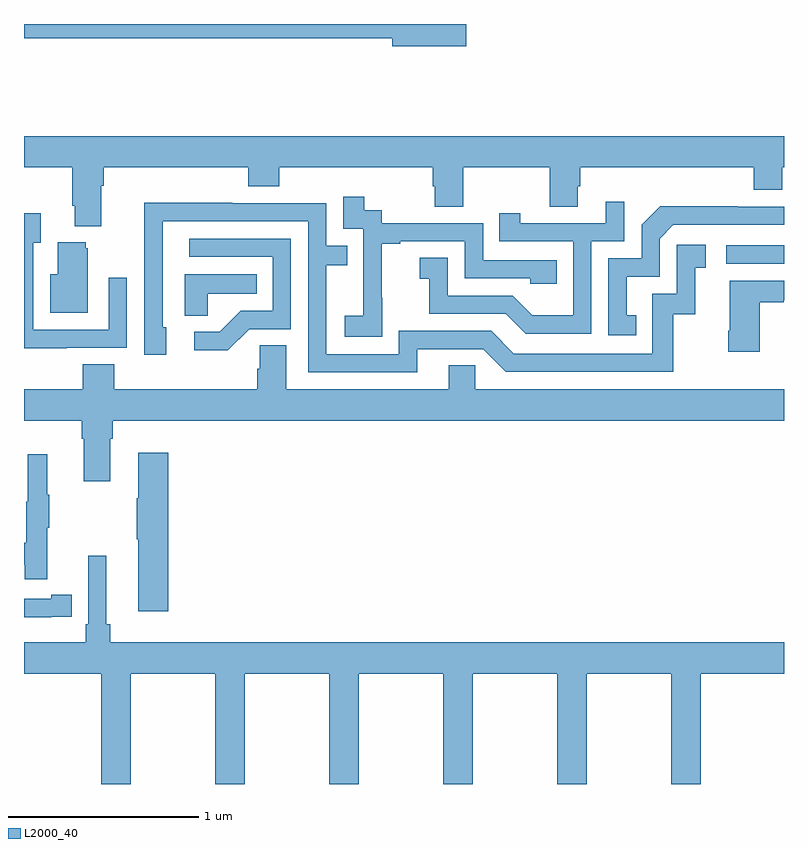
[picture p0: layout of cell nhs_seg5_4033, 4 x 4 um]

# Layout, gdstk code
import gdstk
lib = gdstk.Library(unit=1e-6, precision=1e-09)
def R(c, l, rs):  # rectangles x0, y0, x1, y1
    for r in rs: c.add(gdstk.rectangle(r[:2], r[2:], *l))
def P(c, l, *ps):  # polygons
    for p in ps: c.add(gdstk.Polygon(p, *l))
L2000_40 = (2000, 40)

nhs_seg5_4033 = lib.new_cell('nhs_seg5_4033')
R(nhs_seg5_4033, L2000_40, [(350.697,905.538,351,905.634)])
P(nhs_seg5_4033, L2000_40, [(349.327,906.799),(347,906.799),(347,906.724),(348.938,906.724),(348.938,906.682),(349.327,906.682)],
  [(347,906.044),(347.255,906.044),(347.255,905.842),(347.267,905.842),(347.267,905.735),(347.407,905.735),(347.407,905.948),(347.42,905.948),(347.42,906.044),(348.179,906.044),(348.179,905.945),(348.344,905.945),(348.344,906.044),(349.151,906.044),(349.151,905.946),(349.163,905.946),(349.163,905.836),(349.311,905.836),(349.311,906.044),(349.768,906.044),(349.768,905.836),(349.915,905.836),(349.915,905.946),(349.928,905.946),(349.928,906.044),(350.84,906.044),(350.84,905.927),(350.992,905.927),(350.992,906.044),(351,906.044),(351,906.208),(347,906.208)],
  [(348.885,905.359),(348.884,905.359),(348.884,905.643),(348.979,905.643),(348.979,905.655),(349.32,905.655),(349.32,905.46),(349.665,905.46),(349.665,905.433),(349.805,905.433),(349.805,905.556),(349.416,905.556),(349.416,905.751),(348.882,905.751),(348.882,905.82),(348.79,905.82),(348.79,905.89),(348.681,905.89),(348.681,905.721),(348.786,905.721),(348.786,905.492),(348.785,905.492),(348.785,905.263),(348.687,905.263),(348.687,905.153),(348.885,905.153)],
  [(349.986,905.655),(350.16,905.655),(350.16,905.863),(350.063,905.863),(350.063,905.751),(349.612,905.751),(349.612,905.803),(349.501,905.803),(349.501,905.655),(349.89,905.655),(349.89,905.266),(349.676,905.266),(349.572,905.37),(349.23,905.37),(349.23,905.569),(349.083,905.569),(349.083,905.459),(349.132,905.459),(349.132,905.274),(349.535,905.274),(349.64,905.169),(349.986,905.169)],
  [(349.069,905.088),(349.416,905.088),(349.536,904.968),(350.416,904.968),(350.416,905.271),(350.534,905.271),(350.534,905.517),(350.587,905.517),(350.587,905.638),(350.436,905.638),(350.436,905.379),(350.307,905.379),(350.307,905.064),(349.578,905.064),(349.458,905.184),(348.972,905.184),(348.972,905.061),(348.591,905.061),(348.591,905.53),(348.701,905.53),(348.701,905.631),(348.591,905.631),(348.591,905.856),(348.095,905.856),(348.095,905.858),(347.632,905.858),(347.632,905.551),(347.634,905.551),(347.634,905.058),(347.749,905.058),(347.749,905.202),(347.73,905.202),(347.73,905.76),(348.495,905.76),(348.495,904.965),(349.069,904.965)],
  [(350.222,905.265),(350.173,905.265),(350.173,905.469),(350.346,905.469),(350.346,905.67),(350.418,905.742),(351,905.742),(351,905.838),(350.756,905.838),(350.756,905.84),(350.348,905.84),(350.25,905.742),(350.25,905.565),(350.076,905.565),(350.076,905.16),(350.222,905.16)],
  [(347.225,905.094),(347.541,905.094),(347.541,905.464),(347.445,905.464),(347.445,905.19),(347.049,905.19),(347.049,905.647),(347.089,905.647),(347.089,905.803),(347,905.803),(347,905.093),(347.225,905.093)],
  [(348.186,905.193),(348.405,905.193),(348.405,905.67),(347.871,905.67),(347.871,905.574),(348.309,905.574),(348.309,905.289),(348.14,905.289),(348.029,905.178),(347.895,905.178),(347.895,905.081),(348.073,905.081)],
  [(347.335,905.619),(347.324,905.619),(347.324,905.65),(347.177,905.65),(347.177,905.482),(347.138,905.482),(347.138,905.279),(347.335,905.279)],
  [(347.967,905.378),(348.224,905.378),(348.224,905.482),(347.846,905.482),(347.846,905.263),(347.967,905.263)],
  [(350.872,905.335),(350.999,905.335),(350.999,905.345),(351,905.345),(351,905.449),(350.714,905.449),(350.714,905.185),(350.707,905.185),(350.707,905.073),(350.872,905.073)],
  [(347.455,904.616),(347.468,904.616),(347.468,904.712),(351,904.712),(351,904.876),(349.374,904.876),(349.374,905.003),(349.235,905.003),(349.235,904.876),(348.379,904.876),(348.379,905.108),(348.24,905.108),(348.24,904.985),(348.227,904.985),(348.227,904.876),(347.474,904.876),(347.474,905.009),(347.309,905.009),(347.309,904.876),(347,904.876),(347,904.712),(347.303,904.712),(347.303,904.616),(347.315,904.616),(347.315,904.392),(347.455,904.392)],
  [(347.759,904.543),(347.6,904.543),(347.6,904.304),(347.593,904.304),(347.593,904.087),(347.6,904.087),(347.6,903.708),(347.759,903.708)],
  [(347.123,904.147),(347.134,904.147),(347.134,904.321),(347.123,904.321),(347.123,904.534),(347.02,904.534),(347.02,904.284),(347.013,904.284),(347.013,904.07),(347,904.07),(347,903.954),(347.005,903.954),(347.005,903.876),(347.123,903.876)],
  [(347.144,903.678),(347.252,903.678),(347.252,903.794),(347.144,903.794),(347.144,903.774),(347,903.774),(347,903.677),(347.144,903.677)],
  [(347.453,903.64),(347.434,903.64),(347.434,904),(347.337,904),(347.337,903.64),(347.324,903.64),(347.324,903.544),(347,903.544),(347,903.38),(347.407,903.38),(347.407,902.799),(347.562,902.799),(347.562,903.38),(348.007,903.38),(348.007,902.799),(348.162,902.799),(348.162,903.38),(348.607,903.38),(348.607,902.799),(348.762,902.799),(348.762,903.38),(349.207,903.38),(349.207,902.799),(349.362,902.799),(349.362,903.38),(349.807,903.38),(349.807,902.799),(349.962,902.799),(349.962,903.38),(350.407,903.38),(350.407,902.799),(350.562,902.799),(350.562,903.38),(351,903.38),(351,903.544),(347.453,903.544)])

lib.write_gds('nhs_seg5_4033.gds')
